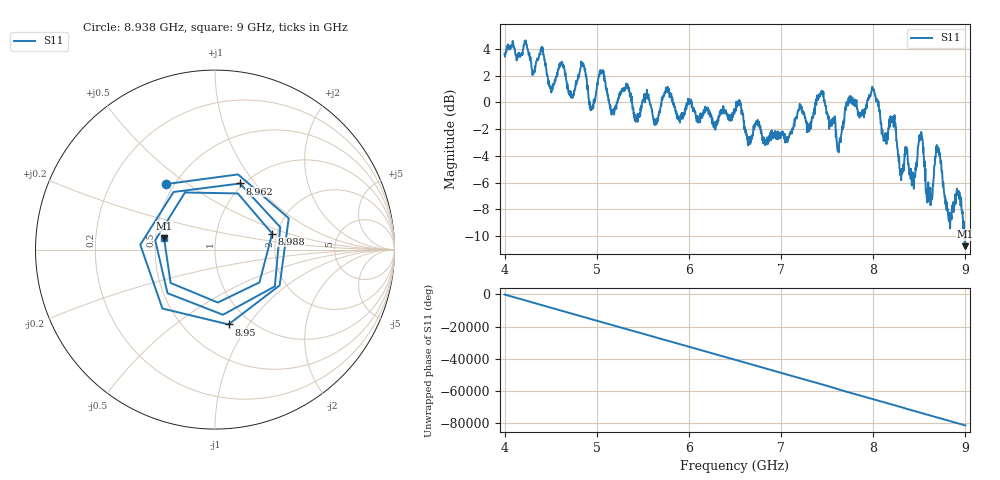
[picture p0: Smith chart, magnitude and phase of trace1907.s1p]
! Created with skrf 1.8.0 (http://scikit-rf.org).
# Hz S RI R 50.0
!freq ReS11 ImS11
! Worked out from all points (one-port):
!   1601 points, 4 GHz to 9 GHz, reference 50 ohm
!   lowest |S11| = -10.7 dB at 9 GHz (marker M1), VSWR 1.82, Z = 27.7 + j3.75 ohm
!   |S11| at or under -10 dB: 8.989876 GHz to end of sweep
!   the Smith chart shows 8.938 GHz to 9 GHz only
!   S11 on the Smith chart (normalised r, x): 8.938 GHz: 0.45, +0.42; 8.95 GHz: 0.80, -0.81; 8.962 GHz: 0.96, +0.84; 8.988 GHz: 1.88, +0.38; 9 GHz: 0.55, +0.07
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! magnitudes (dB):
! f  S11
! 4 GHz  3.7
! 4.506 GHz  0.7
! 4.625 GHz  3.0
! 4.725 GHz  0.6
! 4.853 GHz  2.9
! 4.938 GHz  -0.4
! 5.05 GHz  2.1
! 5.162 GHz  -0.9
! 5.25 GHz  0.8
! 5.875 GHz  -1.2
! 6.5 GHz  -0.5
! 6.656 GHz  -2.9
! 7.125 GHz  -1.9
! 7.438 GHz  0.8
! 7.628 GHz  -3.4
! 7.75 GHz  0.2
! 8 GHz  1.0
! 8.375 GHz  -4.4
! 8.438 GHz  -6.0
! 8.512 GHz  -2.4
! 8.597 GHz  -6.0
! 8.697 GHz  -3.3
! 8.819 GHz  -8.8
! 8.938 GHz  -6.8
! 8.95 GHz  -7.5
! 8.962 GHz  -8.1
! 8.988 GHz  -9.6
! 9 GHz  -10.7
